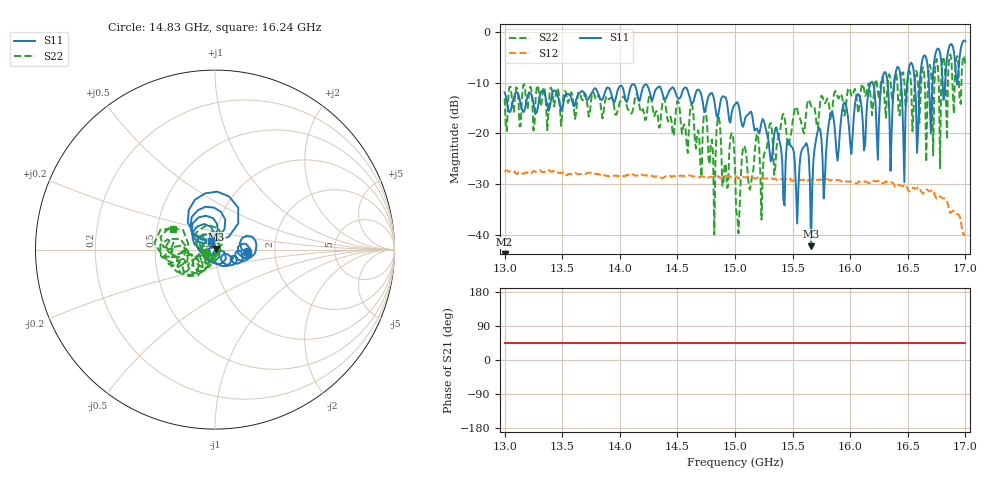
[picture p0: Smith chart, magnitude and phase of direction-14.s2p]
!Keysight Technologies,P9374A,MY57211810,A.19.30.04
!Date: Friday, May 02, 2025 08:58:15
!Correction: S11(Off)
!S21(Off)
!S12(Off)
!S22(Off)
!S2P File: Measurements: S11, S21, S12, S22:
# Hz S  dB  R 50
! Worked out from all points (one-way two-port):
!   401 points, 13 GHz to 17 GHz, reference 50 ohm
!   highest |S21| = - dB at 13 GHz (marker M1); lowest = - dB at 13 GHz (marker M2)
!   lowest |S11| = -42.3 dB at 15.66 GHz (marker M3), VSWR 1.02, Z = 50.7 + j0.394 ohm
!   |S11| at or under -10 dB: start of sweep to 16.18 GHz; 16.19402 GHz to 16.27348 GHz (79.46 MHz wide, 0.489 % of centre); 16.32378 GHz to 16.38241 GHz (58.63 MHz wide, 0.359 % of centre) (the widest 3 of 8)
!   |S22| runs from -40.0 to -4.4 dB; largest |S21 - S12| = 0.044
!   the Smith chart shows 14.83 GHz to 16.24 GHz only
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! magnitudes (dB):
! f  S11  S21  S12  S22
! 13 GHz  -11.9  -  -27.6  -13.1
! 13.67 GHz  -11.6  -  -28.0  -13.3
! 14.34 GHz  -10.8  -  -28.6  -18.9
! 15 GHz  -14.3  -  -28.4  -26.6
! 15.03 GHz  -14.4  -  -29.0  -39.8
! 15.08 GHz  -17.9  -  -28.7  -22.5
! 15.24 GHz  -17.2  -  -28.9  -28.3
! 15.66 GHz  -42.3  -  -29.3  -14.5
! 15.67 GHz  -31.1  -  -29.1  -15.0
! 15.83 GHz  -16.1  -  -29.3  -17.4
! 16.12 GHz  -23.4  -  -29.6  -11.3
! 16.19 GHz  -9.8  -  -29.5  -16.4
! 16.24 GHz  -25.2  -  -29.5  -11.7
! 16.3 GHz  -7.9  -  -29.6  -13.9
! 16.34 GHz  -16.1  -  -29.7  -8.3
! 16.41 GHz  -6.9  -  -30.4  -10.3
! 16.47 GHz  -29.6  -  -30.2  -9.9
! 16.52 GHz  -6.3  -  -31.4  -7.9
! 16.58 GHz  -23.9  -  -30.9  -7.9
! 16.64 GHz  -4.7  -  -31.8  -7.6
! 16.7 GHz  -20.1  -  -31.4  -7.2
! 17 GHz  -1.9  -  -39.9  -6.9
